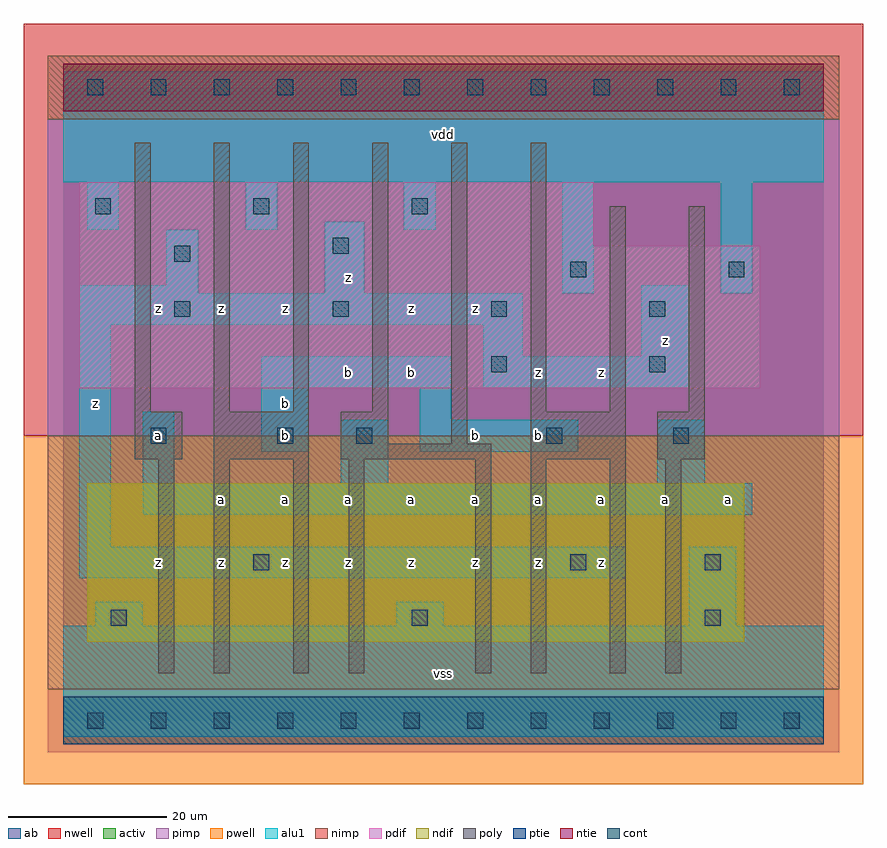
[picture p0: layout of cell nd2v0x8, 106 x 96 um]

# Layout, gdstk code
import gdstk
lib = gdstk.Library(unit=1e-6, precision=1e-09)
def R(c, l, rs):  # rectangles x0, y0, x1, y1
    for r in rs: c.add(gdstk.rectangle(r[:2], r[2:], *l))
def A(c, l, x, y, w, h, nx, ny, dx, dy):  # array of equal rectangles
    R(c, l, [(x+i*dx, y+j*dy, x+i*dx+w, y+j*dy+h) for i in range(nx) for j in range(ny)])
ndif = (3, 0)
pdif = (4, 0)
ntie = (5, 0)
ptie = (6, 0)
cont = (25, 0)
pwell = (41, 0)
nwell = (42, 0)
activ = (43, 0)
pimp = (44, 0)
nimp = (45, 0)
poly = (46, 0)
alu1 = (49, 0)
ab = (63, 0)

nd2v0x8 = lib.new_cell('nd2v0x8')
R(nd2v0x8, ndif, [(3,10,86,30)])
R(nd2v0x8, pdif, [(2,42,88,60), (2,60,67,68)])
R(nd2v0x8, ntie, [(0,77,96,83)])
R(nd2v0x8, ptie, [(0,-3,96,3)])
A(nd2v0x8, cont, 3, -1, 2, 2, 12, 2, 8, 80)
A(nd2v0x8, cont, 14, 51, 2, 2, 4, 1, 20, 0)
A(nd2v0x8, cont, 4, 64, 2, 2, 3, 1, 20, 0)
R(nd2v0x8, cont, [(6,12,8,14), (44,12,46,14), (81,12,83,14), (24,19,26,21), (64,19,66,21), (81,19,83,21), (11,35,13,37), (27,35,29,37), (37,35,39,37), (61,35,63,37), (77,35,79,37), (54,44,56,46), (74,44,76,46), (64,56,66,58), (84,56,86,58), (14,58,16,60), (34,59,36,61)])
R(nd2v0x8, pwell, [(-5,-8,101,36)])
R(nd2v0x8, nwell, [(-5,36,101,88)])
R(nd2v0x8, activ, [(0,-3,96,3), (3,10,86,30), (2,42,88,60), (2,60,67,68), (0,77,96,83)])
R(nd2v0x8, pimp, [(-2,-4,98,4), (-2,36,98,76)])
R(nd2v0x8, nimp, [(-2,4,98,36), (-2,76,98,84)])
A(nd2v0x8, poly, 9, 39, 2, 34, 4, 1, 10, 0)
R(nd2v0x8, poly, [(12,6,14,33), (19,6,21,33), (29,6,31,33), (36,6,38,33), (52,6,54,33), (59,6,61,33), (69,6,71,33), (76,6,78,33), (9,33,15,39), (19,33,31,39), (35,33,54,35), (59,33,71,39), (75,33,81,39), (35,35,41,39), (49,35,51,73), (59,39,61,73), (69,39,71,65), (79,39,81,65)])
A(nd2v0x8, alu1, 3, 62, 4, 6, 3, 1, 20, 0)
R(nd2v0x8, alu1, [(0,-2,96,12), (4,12,10,15), (42,12,48,15), (79,12,85,22), (2,18,71,22), (2,22,6,50), (10,26,87,30), (10,30,14,39), (35,30,41,38), (75,30,81,38), (25,34,31,42), (45,34,65,38), (45,38,49,42), (25,42,49,46), (53,42,79,46), (53,46,58,50), (73,46,79,55), (2,50,58,54), (2,54,17,55), (33,54,38,63), (63,54,67,68), (83,54,87,68), (13,55,17,62), (0,68,96,82)])
R(nd2v0x8, ab, [(0,0,96,80)])
nd2v0x8.add(gdstk.Label('z', (12,20), layer=49, texttype=0))
nd2v0x8.add(gdstk.Label('z', (4,40), layer=49, texttype=0))
nd2v0x8.add(gdstk.Label('a', (12,36), layer=49, texttype=0))
nd2v0x8.add(gdstk.Label('z', (12,52), layer=49, texttype=0))
nd2v0x8.add(gdstk.Label('z', (20,20), layer=49, texttype=0))
nd2v0x8.add(gdstk.Label('a', (20,28), layer=49, texttype=0))
nd2v0x8.add(gdstk.Label('z', (28,20), layer=49, texttype=0))
nd2v0x8.add(gdstk.Label('a', (28,28), layer=49, texttype=0))
nd2v0x8.add(gdstk.Label('b', (28,36), layer=49, texttype=0))
nd2v0x8.add(gdstk.Label('b', (28,40), layer=49, texttype=0))
nd2v0x8.add(gdstk.Label('z', (28,52), layer=49, texttype=0))
nd2v0x8.add(gdstk.Label('z', (20,52), layer=49, texttype=0))
nd2v0x8.add(gdstk.Label('vss', (48,6), layer=49, texttype=0))
nd2v0x8.add(gdstk.Label('z', (36,20), layer=49, texttype=0))
nd2v0x8.add(gdstk.Label('a', (36,28), layer=49, texttype=0))
nd2v0x8.add(gdstk.Label('z', (44,20), layer=49, texttype=0))
nd2v0x8.add(gdstk.Label('a', (44,28), layer=49, texttype=0))
nd2v0x8.add(gdstk.Label('z', (52,20), layer=49, texttype=0))
nd2v0x8.add(gdstk.Label('a', (52,28), layer=49, texttype=0))
nd2v0x8.add(gdstk.Label('b', (36,44), layer=49, texttype=0))
nd2v0x8.add(gdstk.Label('b', (44,44), layer=49, texttype=0))
nd2v0x8.add(gdstk.Label('b', (52,36), layer=49, texttype=0))
nd2v0x8.add(gdstk.Label('z', (44,52), layer=49, texttype=0))
nd2v0x8.add(gdstk.Label('z', (52,52), layer=49, texttype=0))
nd2v0x8.add(gdstk.Label('z', (36,56), layer=49, texttype=0))
nd2v0x8.add(gdstk.Label('vdd', (48,74), layer=49, texttype=0))
nd2v0x8.add(gdstk.Label('z', (60,20), layer=49, texttype=0))
nd2v0x8.add(gdstk.Label('a', (60,28), layer=49, texttype=0))
nd2v0x8.add(gdstk.Label('z', (68,20), layer=49, texttype=0))
nd2v0x8.add(gdstk.Label('a', (68,28), layer=49, texttype=0))
nd2v0x8.add(gdstk.Label('a', (76,28), layer=49, texttype=0))
nd2v0x8.add(gdstk.Label('b', (60,36), layer=49, texttype=0))
nd2v0x8.add(gdstk.Label('z', (60,44), layer=49, texttype=0))
nd2v0x8.add(gdstk.Label('z', (68,44), layer=49, texttype=0))
nd2v0x8.add(gdstk.Label('z', (76,48), layer=49, texttype=0))
nd2v0x8.add(gdstk.Label('a', (84,28), layer=49, texttype=0))

lib.write_gds('nd2v0x8.gds')
